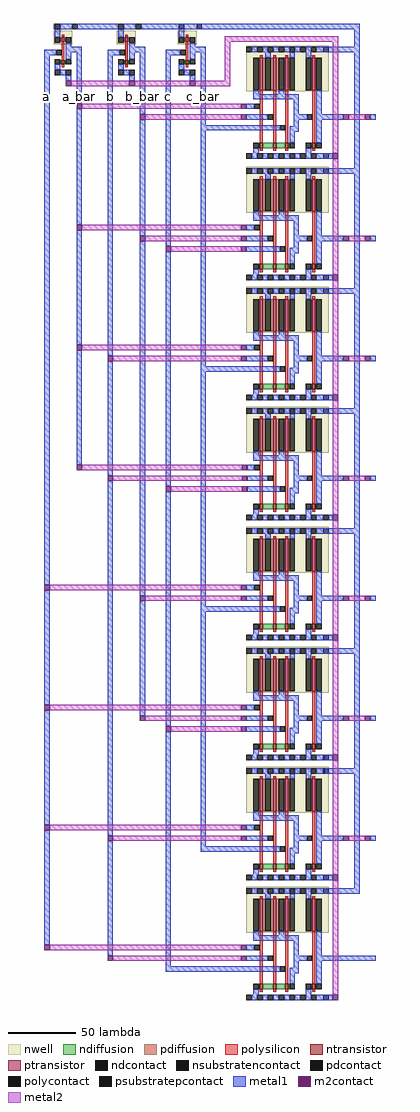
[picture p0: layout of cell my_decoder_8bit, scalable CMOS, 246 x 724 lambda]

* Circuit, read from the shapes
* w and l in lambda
.subckt my_decoder_8bit a a_bar b b_bar c c_bar gnd vdd
M1 a_bar a gnd gnd nfet w=3 l=2
M2 b_bar b gnd gnd nfet w=3 l=2
M3 c_bar c gnd gnd nfet w=3 l=2
M4 n1 a gnd gnd nfet w=4 l=2
M5 n2 a gnd gnd nfet w=4 l=2
M6 n3 a gnd gnd nfet w=4 l=2
M7 n4 a gnd gnd nfet w=4 l=2
M8 n5 a_bar gnd gnd nfet w=4 l=2
M9 n6 a_bar gnd gnd nfet w=4 l=2
M10 n7 a_bar gnd gnd nfet w=4 l=2
M11 n8 a_bar gnd gnd nfet w=4 l=2
M12 n9 b n1 gnd nfet w=4 l=2
M13 n10 b n2 gnd nfet w=4 l=2
M14 n11 b_bar n3 gnd nfet w=4 l=2
M15 n12 b_bar n4 gnd nfet w=4 l=2
M16 n13 b n5 gnd nfet w=4 l=2
M17 n14 b n6 gnd nfet w=4 l=2
M18 n15 b_bar n7 gnd nfet w=4 l=2
M19 n16 b_bar n8 gnd nfet w=4 l=2
M20 n17 c n9 gnd nfet w=4 l=2
M21 n18 c_bar n10 gnd nfet w=4 l=2
M22 n19 c n11 gnd nfet w=4 l=2
M23 n20 c_bar n12 gnd nfet w=4 l=2
M24 n21 c n13 gnd nfet w=4 l=2
M25 n22 c_bar n14 gnd nfet w=4 l=2
M26 n23 c n15 gnd nfet w=4 l=2
M27 n24 c_bar n16 gnd nfet w=4 l=2
M28 decoder_1bit_0/out n17 gnd gnd nfet w=4 l=2
M29 decoder_1bit_1/out n18 gnd gnd nfet w=4 l=2
M30 decoder_1bit_2/out n19 gnd gnd nfet w=4 l=2
M31 decoder_1bit_3/out n20 gnd gnd nfet w=4 l=2
M32 decoder_1bit_4/out n21 gnd gnd nfet w=4 l=2
M33 decoder_1bit_5/out n22 gnd gnd nfet w=4 l=2
M34 decoder_1bit_6/out n23 gnd gnd nfet w=4 l=2
M35 decoder_1bit_7/out n24 gnd gnd nfet w=4 l=2
M36 a_bar a vdd n25 pfet w=3 l=2
M37 b_bar b vdd n26 pfet w=3 l=2
M38 c_bar c vdd n27 pfet w=3 l=2
M39 vdd a n17 vdd pfet w=24 l=2
M40 vdd a n18 vdd pfet w=24 l=2
M41 vdd a n19 vdd pfet w=24 l=2
M42 vdd a n20 vdd pfet w=24 l=2
M43 vdd a_bar n21 vdd pfet w=24 l=2
M44 vdd a_bar n22 vdd pfet w=24 l=2
M45 vdd a_bar n23 vdd pfet w=24 l=2
M46 vdd a_bar n24 vdd pfet w=24 l=2
M47 n17 b vdd vdd pfet w=24 l=2
M48 n18 b vdd vdd pfet w=24 l=2
M49 n19 b_bar vdd vdd pfet w=24 l=2
M50 n20 b_bar vdd vdd pfet w=24 l=2
M51 n21 b vdd vdd pfet w=24 l=2
M52 n22 b vdd vdd pfet w=24 l=2
M53 n23 b_bar vdd vdd pfet w=24 l=2
M54 n24 b_bar vdd vdd pfet w=24 l=2
M55 vdd c n17 vdd pfet w=24 l=2
M56 vdd c_bar n18 vdd pfet w=24 l=2
M57 vdd c n19 vdd pfet w=24 l=2
M58 vdd c_bar n20 vdd pfet w=24 l=2
M59 vdd c n21 vdd pfet w=24 l=2
M60 vdd c_bar n22 vdd pfet w=24 l=2
M61 vdd c n23 vdd pfet w=24 l=2
M62 vdd c_bar n24 vdd pfet w=24 l=2
M63 decoder_1bit_0/out n17 vdd vdd pfet w=24 l=2
M64 decoder_1bit_1/out n18 vdd vdd pfet w=24 l=2
M65 decoder_1bit_2/out n19 vdd vdd pfet w=24 l=2
M66 decoder_1bit_3/out n20 vdd vdd pfet w=24 l=2
M67 decoder_1bit_4/out n21 vdd vdd pfet w=24 l=2
M68 decoder_1bit_5/out n22 vdd vdd pfet w=24 l=2
M69 decoder_1bit_6/out n23 vdd vdd pfet w=24 l=2
M70 decoder_1bit_7/out n24 vdd vdd pfet w=24 l=2
.ends

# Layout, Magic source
magic
tech scmos
<< metal1 >>
rect -158 723 -128 727
rect -110 723 52 727
rect 48 710 52 723
rect -182 704 -173 708
rect -182 311 -178 704
rect -166 685 -162 689
rect -158 668 -154 710
rect -158 578 -154 664
rect -158 489 -154 574
rect -158 400 -154 485
rect -135 704 -126 708
rect -135 481 -131 704
rect -123 689 -119 691
rect -119 685 -115 689
rect -182 222 -178 307
rect -182 133 -178 218
rect -182 44 -178 129
rect -135 392 -131 477
rect -135 125 -131 388
rect -111 660 -107 710
rect -111 570 -107 656
rect -111 303 -107 566
rect -111 214 -107 299
rect -92 704 -81 708
rect -92 562 -88 704
rect -74 685 -70 689
rect -92 384 -88 558
rect -135 36 -131 121
rect -92 206 -88 380
rect -92 28 -88 202
rect -66 652 -62 710
rect 24 706 52 710
rect 20 656 40 660
rect -66 648 -32 652
rect -66 473 -62 648
rect 24 627 32 631
rect 48 620 52 706
rect 60 656 64 660
rect 24 616 52 620
rect 20 566 40 570
rect 24 537 32 541
rect 48 531 52 616
rect 60 566 64 570
rect 24 527 52 531
rect 20 477 40 481
rect -66 469 -32 473
rect -66 295 -62 469
rect 24 448 32 452
rect 48 442 52 527
rect 60 477 64 481
rect 24 438 52 442
rect 20 388 40 392
rect 29 359 32 363
rect 48 353 52 438
rect 60 388 64 392
rect 24 349 52 353
rect 20 299 40 303
rect -66 291 -32 295
rect -66 117 -62 291
rect 25 270 32 274
rect 48 264 52 349
rect 60 299 64 303
rect 24 260 52 264
rect 20 210 40 214
rect 26 181 32 185
rect 48 175 52 260
rect 60 210 64 214
rect 26 171 52 175
rect 26 121 40 125
rect -66 113 -32 117
rect 25 92 32 96
rect 48 86 52 171
rect 60 121 64 125
rect 25 82 52 86
rect 29 32 64 36
rect -92 24 -32 28
rect 25 3 32 7
<< metal2 >>
rect -48 714 36 718
rect -48 685 -44 714
rect -162 681 -119 685
rect -115 681 -74 685
rect -70 681 -44 685
rect -154 664 -36 668
rect -107 656 -36 660
rect 32 631 36 714
rect 44 656 56 660
rect -154 574 -36 578
rect -107 566 -36 570
rect -88 558 -36 562
rect 32 541 36 627
rect 44 566 56 570
rect -154 485 -36 489
rect -131 477 -36 481
rect 32 452 36 537
rect 44 477 56 481
rect -154 396 -35 400
rect -131 388 -35 392
rect -88 380 -35 384
rect 32 363 36 448
rect 44 388 56 392
rect -178 307 -36 311
rect -107 299 -36 303
rect 32 274 36 359
rect 44 299 56 303
rect -178 218 -36 222
rect -107 210 -36 214
rect -88 202 -36 206
rect 32 185 36 270
rect 44 210 56 214
rect -178 129 -36 133
rect -131 121 -36 125
rect 32 96 36 181
rect 44 121 56 125
rect -178 40 -36 44
rect -131 32 -36 36
rect 32 7 36 92
<< m2contact >>
rect -166 681 -162 685
rect -158 664 -154 668
rect -158 574 -154 578
rect -158 485 -154 489
rect -158 396 -154 400
rect -119 681 -115 685
rect -135 477 -131 481
rect -182 307 -178 311
rect -182 218 -178 222
rect -182 129 -178 133
rect -182 40 -178 44
rect -135 388 -131 392
rect -111 656 -107 660
rect -111 566 -107 570
rect -111 299 -107 303
rect -111 210 -107 214
rect -74 681 -70 685
rect -92 558 -88 562
rect -92 380 -88 384
rect -135 121 -131 125
rect -135 32 -131 36
rect -92 202 -88 206
rect -36 664 -32 668
rect -36 656 -32 660
rect 40 656 44 660
rect 32 627 36 631
rect 56 656 60 660
rect -36 574 -32 578
rect -36 566 -32 570
rect 40 566 44 570
rect -36 558 -32 562
rect 32 537 36 541
rect 56 566 60 570
rect -36 485 -32 489
rect -36 477 -32 481
rect 40 477 44 481
rect 32 448 36 452
rect 56 477 60 481
rect -35 396 -31 400
rect -35 388 -31 392
rect 40 388 44 392
rect -35 380 -31 384
rect 32 359 36 363
rect 56 388 60 392
rect -36 307 -32 311
rect -36 299 -32 303
rect 40 299 44 303
rect 32 270 36 274
rect 56 299 60 303
rect -36 218 -32 222
rect -36 210 -32 214
rect 40 210 44 214
rect -36 202 -32 206
rect 32 181 36 185
rect 56 210 60 214
rect -36 129 -32 133
rect -36 121 -32 125
rect 40 121 44 125
rect 32 92 36 96
rect 56 121 60 125
rect -36 40 -32 44
rect -36 32 -32 36
rect 32 3 36 7
use assignment1  assignment1_2
transform 1 0 -164 0 1 701
box -11 -12 7 26
use assignment1  assignment1_1
transform 1 0 -117 0 1 701
box -11 -12 7 26
use assignment1  assignment1_0
transform 1 0 -72 0 1 701
box -11 -12 7 26
use decoder_1bit  decoder_1bit_7
transform 1 0 -27 0 1 678
box -5 -51 56 33
use decoder_1bit  decoder_1bit_6
transform 1 0 -27 0 1 588
box -5 -51 56 33
use decoder_1bit  decoder_1bit_5
transform 1 0 -27 0 1 499
box -5 -51 56 33
use decoder_1bit  decoder_1bit_4
transform 1 0 -27 0 1 410
box -5 -51 56 33
use decoder_1bit  decoder_1bit_3
transform 1 0 -27 0 1 321
box -5 -51 56 33
use decoder_1bit  decoder_1bit_2
transform 1 0 -27 0 1 232
box -5 -51 56 33
use decoder_1bit  decoder_1bit_1
transform 1 0 -27 0 1 143
box -5 -51 56 33
use decoder_1bit  decoder_1bit_0
transform 1 0 -27 0 1 54
box -5 -51 56 33
<< labels >>
rlabel metal1 -66 671 -62 675 0 c_bar
rlabel metal1 -92 671 -88 675 0 c
rlabel metal1 -111 671 -107 675 0 b_bar
rlabel metal1 -135 671 -131 675 0 b
rlabel metal1 -182 671 -178 675 0 a
rlabel metal1 -158 671 -154 675 0 a_bar
<< end >>

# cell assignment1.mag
magic
tech scmos
<< nwell >>
rect -11 11 3 21
<< polysilicon >>
rect -5 16 -3 18
rect -5 -1 -3 13
rect -5 -6 -3 -4
<< ndiffusion >>
rect -6 -4 -5 -1
rect -3 -4 -2 -1
<< pdiffusion >>
rect -6 13 -5 16
rect -3 13 -2 16
<< metal1 >>
rect -11 22 -10 26
rect -6 22 3 26
rect -10 16 -6 22
rect -2 9 2 12
rect -2 5 6 9
rect -2 0 2 5
rect -10 -8 -6 -4
rect -6 -12 -2 -8
<< ntransistor >>
rect -5 -4 -3 -1
<< ptransistor >>
rect -5 13 -3 16
<< polycontact >>
rect -9 3 -5 7
<< ndcontact >>
rect -10 -4 -6 0
rect -2 -4 2 0
<< pdcontact >>
rect -10 12 -6 16
rect -2 12 2 16
<< psubstratepcontact >>
rect -10 -12 -6 -8
rect -2 -12 2 -8
<< nsubstratencontact >>
rect -10 22 -6 26
rect 3 22 7 26
<< labels >>
rlabel polycontact -9 3 -5 7 0 in
rlabel metal1 2 5 6 9 0 out
rlabel psubstratepcontact -2 -12 2 -8 0 gnd
rlabel metal1 -11 22 7 26 0 vdd
<< end >>

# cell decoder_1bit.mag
magic
tech scmos
<< nwell >>
rect -5 -1 56 33
<< polysilicon >>
rect 5 24 7 26
rect 15 24 17 26
rect 24 24 26 26
rect 44 24 46 26
rect 5 -39 7 0
rect 15 -39 17 0
rect 24 -39 26 0
rect 44 -39 46 0
rect 5 -45 7 -43
rect 15 -45 17 -43
rect 24 -45 26 -43
rect 44 -45 46 -43
<< ndiffusion >>
rect 4 -43 5 -39
rect 7 -43 15 -39
rect 17 -43 24 -39
rect 26 -43 27 -39
rect 43 -43 44 -39
rect 46 -43 47 -39
<< pdiffusion >>
rect 4 0 5 24
rect 7 0 9 24
rect 13 0 15 24
rect 17 0 19 24
rect 23 0 24 24
rect 26 0 27 24
rect 43 0 44 24
rect 46 0 47 24
<< metal1 >>
rect -1 28 3 32
rect 7 28 11 32
rect 15 28 19 32
rect 23 28 27 32
rect 31 28 35 32
rect 9 24 13 28
rect 27 24 31 28
rect 39 24 43 32
rect 47 28 52 32
rect 0 -3 4 0
rect 19 -3 23 0
rect 0 -7 34 -3
rect -5 -14 1 -10
rect 30 -18 34 -7
rect 47 -18 51 0
rect -5 -22 11 -18
rect 30 -22 40 -18
rect 47 -22 56 -18
rect -5 -30 20 -26
rect 30 -27 34 -22
rect 27 -31 34 -27
rect 27 -39 31 -31
rect 47 -39 51 -22
rect 0 -47 4 -43
rect -1 -51 3 -47
rect 7 -51 11 -47
rect 15 -51 19 -47
rect 23 -51 27 -47
rect 31 -51 35 -47
rect 39 -51 43 -43
rect 47 -51 52 -47
<< ntransistor >>
rect 5 -43 7 -39
rect 15 -43 17 -39
rect 24 -43 26 -39
rect 44 -43 46 -39
<< ptransistor >>
rect 5 0 7 24
rect 15 0 17 24
rect 24 0 26 24
rect 44 0 46 24
<< polycontact >>
rect 1 -14 5 -10
rect 11 -22 15 -18
rect 20 -30 24 -26
rect 40 -22 44 -18
<< ndcontact >>
rect 0 -43 4 -39
rect 27 -43 31 -39
rect 39 -43 43 -39
rect 47 -43 51 -39
<< pdcontact >>
rect 0 0 4 24
rect 9 0 13 24
rect 19 0 23 24
rect 27 0 31 24
rect 39 0 43 24
rect 47 0 51 24
<< psubstratepcontact >>
rect -5 -51 -1 -47
rect 3 -51 7 -47
rect 11 -51 15 -47
rect 19 -51 23 -47
rect 27 -51 31 -47
rect 35 -51 39 -47
rect 43 -51 47 -47
rect 52 -51 56 -47
<< nsubstratencontact >>
rect -5 28 -1 32
rect 3 28 7 32
rect 11 28 15 32
rect 19 28 23 32
rect 27 28 31 32
rect 35 28 39 32
rect 43 28 47 32
rect 52 28 56 32
<< labels >>
rlabel metal1 -5 -14 -1 -10 0 a
rlabel metal1 -5 -22 -1 -18 0 b
rlabel metal1 -5 -30 -1 -26 0 c
rlabel metal1 52 -22 56 -18 0 out
rlabel nsubstratencontact 52 28 56 32 0 vdd
rlabel psubstratepcontact 52 -51 56 -47 0 gnd
<< end >>
